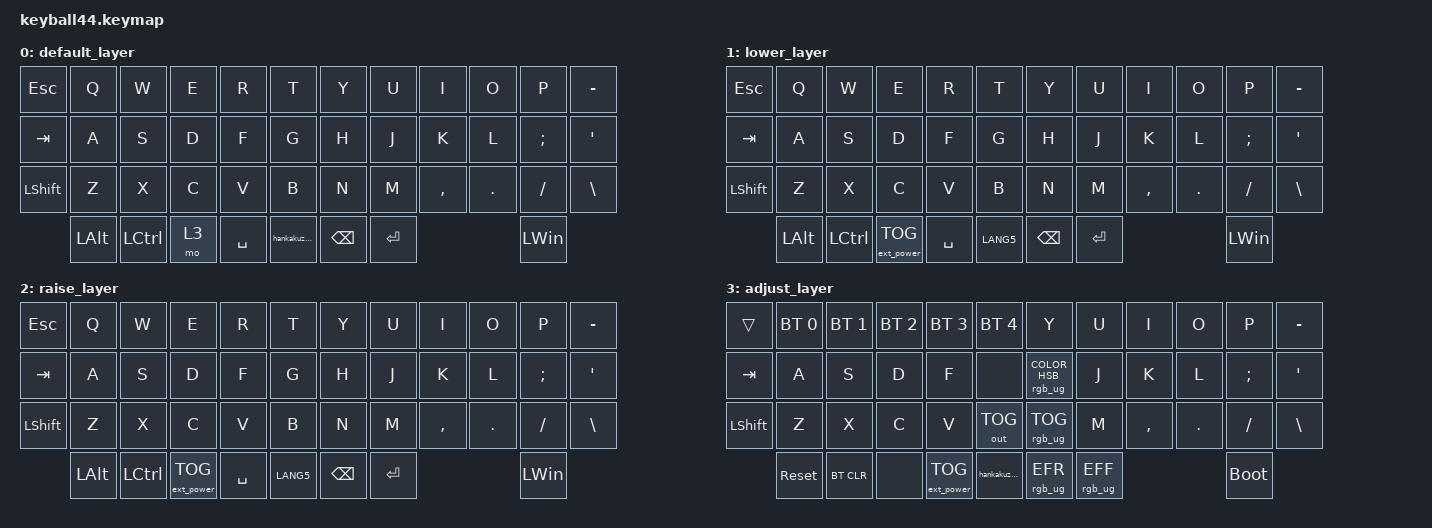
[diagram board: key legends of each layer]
/*
 * Copyright (c) 2020 The ZMK Contributors
 *
 * SPDX-License-Identifier: MIT
 */

#include <behaviors.dtsi>
#include <dt-bindings/zmk/bt.h>
#include <dt-bindings/zmk/ext_power.h>
#include <dt-bindings/zmk/keys.h>
#include <dt-bindings/zmk/outputs.h>
#include <dt-bindings/zmk/rgb.h>
#include <dt-bindings/zmk/mouse.h>

#define DEF 0
#define LWR 1
#define RSE 2
#define ADJ 3

/ {
    macros {
        hankakuzenkaku: hankakuzenkaku {
            compatible = "zmk,behavior-macro";
            #binding-cells = <0>;
            bindings = <&kp LC(SPACE)>;
            label = "HANKAKUZENKAKU"; 
        };
    };

    keymap {
        compatible = "zmk,keymap";

        default_layer {  
            bindings = <
&kp ESC    &kp Q     &kp W             &kp E  &kp R      &kp T            &kp Y     &kp U      &kp I      &kp O       &kp P      &kp MINUS
&kp TAB    &kp A     &kp S             &kp D  &kp F      &kp G            &kp H     &kp J      &kp K      &kp L       &kp SEMI   &kp SQT
&kp LSHFT  &kp Z     &kp X             &kp C  &kp V      &kp B            &kp N     &kp M      &kp COMMA  &kp PERIOD  &kp SLASH  &kp BSLH
           &kp LALT  &kp LEFT_CONTROL  &mo 3  &kp SPACE  &hankakuzenkaku  &kp BSPC  &kp ENTER                         &kp LWIN
            >;
        };

        lower_layer {
            bindings = <
&kp ESC    &kp Q     &kp W      &kp E              &kp R      &kp T      &kp Y     &kp U      &kp I      &kp O       &kp P      &kp MINUS
&kp TAB    &kp A     &kp S      &kp D              &kp F      &kp G      &kp H     &kp J      &kp K      &kp L       &kp SEMI   &kp SQT
&kp LSHFT  &kp Z     &kp X      &kp C              &kp V      &kp B      &kp N     &kp M      &kp COMMA  &kp PERIOD  &kp SLASH  &kp BSLH
           &kp LALT  &kp LCTRL  &ext_power EP_TOG  &kp SPACE  &kp LANG5  &kp BSPC  &kp ENTER                         &kp LWIN
            >;
        };

        raise_layer {
            bindings = <
&kp ESC    &kp Q     &kp W      &kp E              &kp R      &kp T      &kp Y     &kp U      &kp I      &kp O       &kp P      &kp MINUS
&kp TAB    &kp A     &kp S      &kp D              &kp F      &kp G      &kp H     &kp J      &kp K      &kp L       &kp SEMI   &kp SQT
&kp LSHFT  &kp Z     &kp X      &kp C              &kp V      &kp B      &kp N     &kp M      &kp COMMA  &kp PERIOD  &kp SLASH  &kp BSLH
           &kp LALT  &kp LCTRL  &ext_power EP_TOG  &kp SPACE  &kp LANG5  &kp BSPC  &kp ENTER                         &kp LWIN
            >;
        };

        adjust_layer {
bindings = <
&trans     &bt BT_SEL 0  &bt BT_SEL 1  &bt BT_SEL 2  &bt BT_SEL 3       &bt BT_SEL 4     &kp Y                           &kp U            &kp I      &kp O       &kp P        &kp MINUS
&kp TAB    &kp A         &kp S         &kp D         &kp F              &none            &rgb_ug RGB_COLOR_HSB(0,0,100)  &kp J            &kp K      &kp L       &kp SEMI     &kp SQT
&kp LSHFT  &kp Z         &kp X         &kp C         &kp V              &out OUT_TOG     &rgb_ug RGB_TOG                 &kp M            &kp COMMA  &kp PERIOD  &kp SLASH    &kp BSLH
           &sys_reset    &bt BT_CLR    &none         &ext_power EP_TOG  &hankakuzenkaku  &rgb_ug RGB_EFR                 &rgb_ug RGB_EFF                         &bootloader
            >;
        };
    };

};
